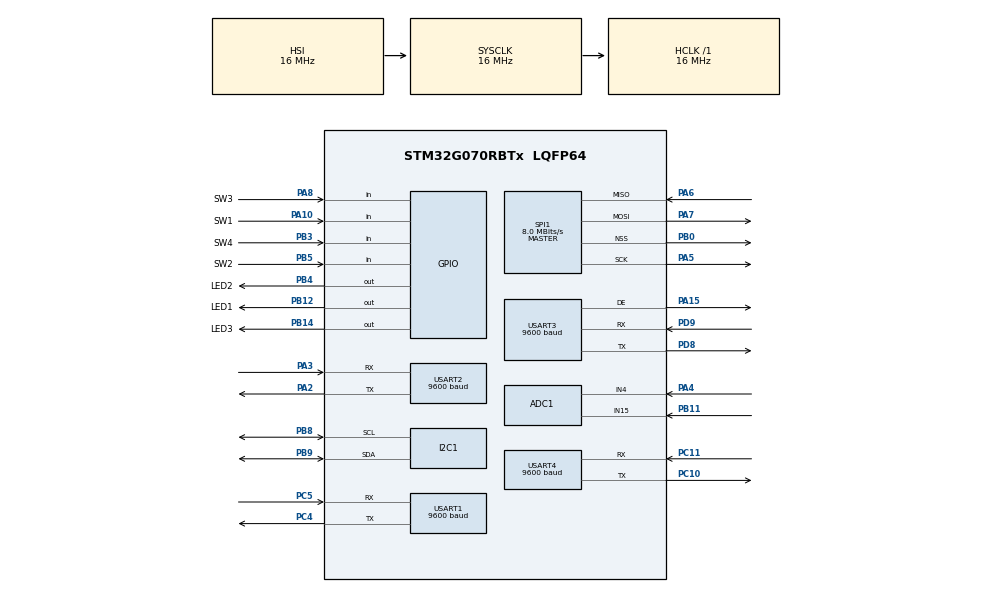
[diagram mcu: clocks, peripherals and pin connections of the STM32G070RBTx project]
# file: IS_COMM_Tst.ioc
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ADC1.DiscontinuousConvMode=ENABLE
ADC1.NbrOfConversion=1
ADC1.NbrOfConversionFlag=0
ADC1.SelectedChannel=ADC_CHANNEL_4|ADC_CHANNEL_15
ADC1.Sequencer=NOT_FULLY_CONFIGURABLE
ADC1.master=1
Mcu.Family=STM32G0
Mcu.Name=STM32G070RBTx
Mcu.Package=LQFP64
NVIC.USART1_IRQn=true\:0\:0\:false\:false\:true\:true\:true
NVIC.USART2_IRQn=true\:0\:0\:false\:false\:true\:true\:true
NVIC.USART3_4_IRQn=true\:0\:0\:false\:false\:true\:true\:true
PA10.GPIO_Label=SW1
PA10.Signal=GPIO_Input
PA15.Mode=Hardware Flow Control (RS485)
PA15.Signal=USART3_DE
PA2.Mode=Asynchronous
PA2.Signal=USART2_TX
PA3.Mode=Asynchronous
PA3.Signal=USART2_RX
PA4.Mode=IN4
PA4.Signal=ADC1_IN4
PA5.Mode=Full_Duplex_Master
PA5.Signal=SPI1_SCK
PA6.Mode=Full_Duplex_Master
PA6.Signal=SPI1_MISO
PA7.Mode=Full_Duplex_Master
PA7.Signal=SPI1_MOSI
PA8.GPIO_Label=SW3
PA8.Signal=GPIO_Input
PB0.Mode=NSS_Signal_Hard_Output
PB0.Signal=SPI1_NSS
PB11.Signal=SharedAnalog_PB11
PB12.GPIO_Label=LED1
PB12.Signal=GPIO_Output
PB14.GPIO_Label=LED3
PB14.Signal=GPIO_Output
PB3.GPIO_Label=SW4
PB3.Signal=GPIO_Input
PB4.GPIO_Label=LED2
PB4.Signal=GPIO_Output
PB5.GPIO_Label=SW2
PB5.Signal=GPIO_Input
PB8.Mode=I2C
PB8.Signal=I2C1_SCL
PB9.Mode=I2C
PB9.Signal=I2C1_SDA
PC10.Mode=Asynchronous
PC10.Signal=USART4_TX
PC11.Mode=Asynchronous
PC11.Signal=USART4_RX
PC4.Mode=Asynchronous
PC4.Signal=USART1_TX
PC5.Mode=Asynchronous
PC5.Signal=USART1_RX
PD8.Mode=Asynchronous
PD8.Signal=USART3_TX
PD9.Mode=Asynchronous
PD9.Signal=USART3_RX
ProjectManager.HeapSize=0x200
ProjectManager.StackSize=0x400
ProjectManager.TargetToolchain=EWARM V8.32
RCC.AHBFreq_Value=16000000
RCC.CortexFreq_Value=16000000
RCC.EXTERNAL_CLOCK_VALUE=48000
RCC.HCLKFreq_Value=16000000
RCC.HSE_VALUE=8000000
RCC.HSI_VALUE=16000000
RCC.LSE_VALUE=32768
RCC.SYSCLKFreq_VALUE=16000000
RCC.VCOOutputFreq_Value=128000000
SH.SharedAnalog_PB11.0=GPIO_Analog
SH.SharedAnalog_PB11.1=ADC1_IN15,IN15
SPI1.CalculateBaudRate=8.0 MBits/s
SPI1.DataSize=SPI_DATASIZE_8BIT
SPI1.Direction=SPI_DIRECTION_2LINES
SPI1.Mode=SPI_MODE_MASTER
SPI1.VirtualNSS=VM_NSSHARD
SPI1.VirtualType=VM_MASTER
USART1.BaudRate=9600
USART1.VirtualMode-Asynchronous=VM_ASYNC
USART2.BaudRate=9600
USART2.VirtualMode-Asynchronous=VM_ASYNC
USART3.BaudRate=9600
USART3.VirtualMode-Asynchronous=VM_ASYNC
USART3.VirtualMode-Hardware\ Flow\ Control\ (RS485)=VM_ASYNC
USART4.BaudRate=9600
USART4.VirtualMode-Asynchronous=VM_ASYNC
VP_SYS_VS_DBSignals.Mode=DisableDeadBatterySignals
board=custom

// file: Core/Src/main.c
/* USER CODE BEGIN Header */
/**
  ******************************************************************************
  * @file           : main.c
  * @brief          : Main program body
  ******************************************************************************
  * @attention
  *
  * <h2><center>&copy; Copyright (c) 2022 STMicroelectronics.
  * All rights reserved.</center></h2>
  *
  * This software component is licensed by ST under BSD 3-Clause license,
  * the "License"; You may not use this file except in compliance with the
  * License. You may obtain a copy of the License at:
  *                        opensource.org/licenses/BSD-3-Clause
  *
  ******************************************************************************
  */
/* USER CODE END Header */
#include "main.h"

/* USER CODE BEGIN Includes */
#include "stm32g0xx_ll_usart.h"
#include "gps.h"
#include "fiber_Interface.h"
#include "RS_485_Interface.h"
#include "fonts.h"
#include "ssd1306.h"
#include "ux_manager.h"
#include <string.h>
#include <stdio.h>

/* USER CODE END Includes */

ADC_HandleTypeDef hadc1;

I2C_HandleTypeDef hi2c1;

SPI_HandleTypeDef hspi1;

UART_HandleTypeDef huart1;
UART_HandleTypeDef huart2;
UART_HandleTypeDef huart3;
UART_HandleTypeDef huart4;

/* USER CODE BEGIN PV */
// scheduler stuff
extern uint8_t ten_mS_Flag;
extern uint8_t twentyfive_mS_Flag;
extern uint8_t hundred_mS_Flag;
extern uint8_t one_S_Flag;
uint8_t mS200 = true;

// Keyboard
#define NO_KEY_PRESSED 0x0F
uint8_t keyCode = NO_KEY_PRESSED;
uint8_t lastKeyCode = NO_KEY_PRESSED;
uint8_t keyCodeProcessed = false;

uint8_t probe_remote2 = false;

//GPS
uint8_t valid_GPS = false;

// Test Values
int8_t charCounter = 0;
extern DWfloat counter;
uint32_t xmitDelay = 200000;
uint8_t remoteCounter = 0;
uint8_t remoteMessage[10];
uint8_t seqLED = 0;
extern DWuint8_t buttons;

// Fiber Optic stuff
uint8_t fo_char2Send[1] = {0};
uint8_t fo_byteReceived = 0;

// RS-485 stuff
uint8_t rs485_char2Send[1] = {0};
uint8_t rs485_byteReceived = 0;

// Comm interface
extern uint8_t pcProcessPacket;
extern uint8_t fcProcessPacket;
extern uint8_t rs485ProcessPacket;

extern uint8_t sendFlag;
uint8_t message[10];
uint8_t msgLen;
// system variables
volatile uint16_t serialValue = 23;
volatile uint16_t fiberValue = 24;
volatile uint16_t rs485Value = 25;
volatile uint16_t targetRemote = 0;
volatile uint16_t ftargetRemote = 0;
volatile uint16_t receiveRemoteAddress = 0;

/* USER CODE END PV */

void SystemClock_Config(void);
static void MX_GPIO_Init(void);
static void MX_USART3_UART_Init(void);
static void MX_USART1_UART_Init(void);
static void MX_USART2_UART_Init(void);
static void MX_USART4_UART_Init(void);
static void MX_ADC1_Init(void);
static void MX_I2C1_Init(void);
static void MX_SPI1_Init(void);
/* USER CODE BEGIN PFP */

void ProcessKeyCode(uint8_t _keys);

/* USER CODE END PFP */

int main(void)
{

  /* MCU Configuration--------------------------------------------------------*/

  /* Reset of all peripherals, Initializes the Flash interface and the Systick. */
  HAL_Init();

  /* Configure the system clock */
  SystemClock_Config();

  /* Initialize all configured peripherals */
  MX_GPIO_Init();
  MX_USART3_UART_Init();
  MX_USART1_UART_Init();
  MX_USART2_UART_Init();
  MX_USART4_UART_Init();
  MX_ADC1_Init();
  MX_I2C1_Init();
  MX_SPI1_Init();
  /* USER CODE BEGIN 2 */
  LL_USART_EnableIT_RXNE_RXFNE(USART1);
  LL_USART_EnableIT_RXNE_RXFNE(USART2);
  LL_USART_EnableIT_RXNE_RXFNE(USART3);
  LL_USART_EnableIT_RXNE_RXFNE(USART4);

  SSD1306_Init();  // initialise

  SwitchScreens(SPLASH);

  HAL_Delay (3000);

  SwitchScreens(SHOW_COUNT_N_BUTTONS);

  rs485_char2Send[0] = charCounter + 0x40;
  fo_char2Send[0] = charCounter + 0x30;
  /* USER CODE END 2 */

  /* Infinite loop */
  /* USER CODE BEGIN WHILE */
  while (1)
  {
    //---------------------------------
    // 10mS Tasks
    if (ten_mS_Flag) {
      ten_mS_Flag = false;

    }  // end of 10mS Tasks
    //---------------------------------

    //---------------------------------
    // 25mS Tasks
    if (twentyfive_mS_Flag) {
      twentyfive_mS_Flag = false;

      keyCode = ( (HAL_GPIO_ReadPin(SW4) << 3) | (HAL_GPIO_ReadPin(SW3) << 2) | (HAL_GPIO_ReadPin(SW2) << 1) | (HAL_GPIO_ReadPin(SW1) << 0) );

      if (keyCode != NO_KEY_PRESSED) {
        if (lastKeyCode != NO_KEY_PRESSED) {
          if (keyCodeProcessed == false) {
            ProcessKeyCode(keyCode);
            keyCodeProcessed = true;
          }
        }
        else {
          lastKeyCode = keyCode;
        }
      }
      else {
        lastKeyCode = NO_KEY_PRESSED;
        keyCodeProcessed = false;
      }

      buttons.data = ( (HAL_GPIO_ReadPin(SW4) << 3) | (HAL_GPIO_ReadPin(SW3) << 2) | (HAL_GPIO_ReadPin(SW2) << 1) | (HAL_GPIO_ReadPin(SW1) << 0) );

    }  // end of 25mS Tasks
    //---------------------------------

    //---------------------------------
    // 100mS Tasks
    if (hundred_mS_Flag) {
      hundred_mS_Flag = false;

      if ((mS200 ^= true) == true)
        UpdateScreenValues();

    }  // end of 100mS Tasks
    //---------------------------------

    //---------------------------------
    // 1 Sec Tasks
    if (one_S_Flag) {
      one_S_Flag = false;

      if (valid_GPS == true) {
        HAL_GPIO_WritePin(LED1, LED_ON);
      } else {
        HAL_GPIO_WritePin(LED1, LED_OFF);
      }
      probe_remote2 = !probe_remote2;
      if (probe_remote2) {
        SendString(&rs485_outputBuffer,"$1o\n",sizeof("$1o\n"),StripZeros, NoAddCRLF);
      }
      else { // probe remote 1
        SendString(&rs485_outputBuffer,"$0r\n",sizeof("$0r\n"),StripZeros, NoAddCRLF);
      }

      // Test network and fiber optics
//      HAL_UART_Transmit(&huart3, rs485_char2Send, 1, 1000);   // remote bus  // #!
//      HAL_UART_Transmit(&huart4, fo_char2Send, 1, 1000);   // fiber optic
//
//      charCounter++;
//      rs485_char2Send[0] = charCounter + 0x40;  // #!
//      fo_char2Send[0] = charCounter + 0x30;
//      if (charCounter > 0x3A) {
//        charCounter = -1; // icremented to 0 before use
//        rs485_char2Send[0] = '\n';  // #!
//        fo_char2Send[0] = '\n';
//      }
//
//      counter.data += 0.12;
//      if (counter.data >= 123)
//        counter.data = 0;

//      sprintf((char *)remoteMessage, "$1d%d\n", remoteCounter);
//      HAL_UART_Transmit(&huart3, remoteMessage, 10, 1000);
//      remoteCounter++;

      // Test LEDs
//      switch (seqLED++) {
//      case 0:
//        HAL_GPIO_WritePin(LED1, LED_ON);
//        HAL_GPIO_WritePin(LED2, LED_OFF);
//        HAL_GPIO_WritePin(LED3, LED_OFF);
//        break;
//      case 1:
//        HAL_GPIO_WritePin(LED1, LED_OFF);
//        HAL_GPIO_WritePin(LED2, LED_ON);
//        HAL_GPIO_WritePin(LED3, LED_OFF);
//        break;
//      case 2:
//        HAL_GPIO_WritePin(LED1, LED_OFF);
//        HAL_GPIO_WritePin(LED2, LED_OFF);
//        HAL_GPIO_WritePin(LED3, LED_ON);
//
//        seqLED = 0;
//        break;
//      }

    } // end of 1Sec Tasks
    //---------------------------------

    //---------------------------------
    // Every time through the loop

    if (!IsBufferEmpty(&pc_inputBuffer))
      ProcessPcInputChar(&pc_inputBuffer);

    if (!IsBufferEmpty(&fc_inputBuffer))
      ProcessFcInputChar(&fc_inputBuffer);

    if (!IsBufferEmpty(&rs485_inputBuffer))
      ProcessRs485InputChar(&rs485_inputBuffer);

    if (!IsBufferEmpty(&gps_inputBuffer))
      ProcessGpsInputChar(&gps_inputBuffer);

    if (pcProcessPacket == true) {
      pcProcessPacket = false;

      ProcessPcPacket();
    }
    if (fcProcessPacket == true) {
      fcProcessPacket = false;

      ProcessFcPacket();
    }
    if (rs485ProcessPacket == true) {
      rs485ProcessPacket = false;
      ProcessRs485Packet();
    }
    if (gpsProcessPacket == true)
      ProcessGPS_Packet();

    // end Every time through the loop
    //---------------------------------

//    xmitDelay--;
//    if (xmitDelay == 0) {
//      xmitDelay = 200000;
//      char2Send[0] = charCounter++ + 0x40;
//      HAL_UART_Transmit(&huart3, char2Send, 1, 1000);   // remote bus
//      HAL_UART_Transmit(&huart4, char2Send, 1, 1000);   // fiber optic
//
//      if (charCounter > 0x3A) {
//        charCounter = 0;
//        char2Send[0] = '\n';
//        HAL_UART_Transmit(&huart3, char2Send, 1, 1000);
//        HAL_UART_Transmit(&huart4, char2Send, 1, 1000);
//      }
//
//      counter.data += 0.12;
//      if (counter.data >= 123)
//        counter.data = 0;
//
//      UpdateScreenValues();
//    }
//
//    if (!IsBufferEmpty(&gps_inputBuffer))
//      ProcessGpsInputChar(&gps_inputBuffer);

    /* USER CODE END WHILE */

  }
}

void SystemClock_Config(void)
{
  RCC_OscInitTypeDef RCC_OscInitStruct = {0};
  RCC_ClkInitTypeDef RCC_ClkInitStruct = {0};
  RCC_PeriphCLKInitTypeDef PeriphClkInit = {0};

  /** Configure the main internal regulator output voltage
  */
  HAL_PWREx_ControlVoltageScaling(PWR_REGULATOR_VOLTAGE_SCALE1);
  /** Initializes the RCC Oscillators according to the specified parameters
  * in the RCC_OscInitTypeDef structure.
  */
  RCC_OscInitStruct.OscillatorType = RCC_OSCILLATORTYPE_HSI;
  RCC_OscInitStruct.HSIState = RCC_HSI_ON;
  RCC_OscInitStruct.HSIDiv = RCC_HSI_DIV1;
  RCC_OscInitStruct.HSICalibrationValue = RCC_HSICALIBRATION_DEFAULT;
  RCC_OscInitStruct.PLL.PLLState = RCC_PLL_NONE;
  if (HAL_RCC_OscConfig(&RCC_OscInitStruct) != HAL_OK)
  {
    Error_Handler();
  }
  /** Initializes the CPU, AHB and APB buses clocks
  */
  RCC_ClkInitStruct.ClockType = RCC_CLOCKTYPE_HCLK|RCC_CLOCKTYPE_SYSCLK
                              |RCC_CLOCKTYPE_PCLK1;
  RCC_ClkInitStruct.SYSCLKSource = RCC_SYSCLKSOURCE_HSI;
  RCC_ClkInitStruct.AHBCLKDivider = RCC_SYSCLK_DIV1;
  RCC_ClkInitStruct.APB1CLKDivider = RCC_HCLK_DIV1;

  if (HAL_RCC_ClockConfig(&RCC_ClkInitStruct, FLASH_LATENCY_0) != HAL_OK)
  {
    Error_Handler();
  }
  /** Initializes the peripherals clocks
  */
  PeriphClkInit.PeriphClockSelection = RCC_PERIPHCLK_USART1|RCC_PERIPHCLK_USART2
                              |RCC_PERIPHCLK_I2C1|RCC_PERIPHCLK_ADC;
  PeriphClkInit.Usart1ClockSelection = RCC_USART1CLKSOURCE_PCLK1;
  PeriphClkInit.Usart2ClockSelection = RCC_USART2CLKSOURCE_PCLK1;
  PeriphClkInit.I2c1ClockSelection = RCC_I2C1CLKSOURCE_PCLK1;
  PeriphClkInit.AdcClockSelection = RCC_ADCCLKSOURCE_SYSCLK;
  if (HAL_RCCEx_PeriphCLKConfig(&PeriphClkInit) != HAL_OK)
  {
    Error_Handler();
  }
}

static void MX_ADC1_Init(void)
{

  ADC_ChannelConfTypeDef sConfig = {0};

  /** Configure the global features of the ADC (Clock, Resolution, Data Alignment and number of conversion)
  */
  hadc1.Instance = ADC1;
  hadc1.Init.ClockPrescaler = ADC_CLOCK_SYNC_PCLK_DIV2;
  hadc1.Init.Resolution = ADC_RESOLUTION_12B;
  hadc1.Init.DataAlign = ADC_DATAALIGN_RIGHT;
  hadc1.Init.ScanConvMode = ADC_SCAN_SEQ_FIXED;
  hadc1.Init.EOCSelection = ADC_EOC_SINGLE_CONV;
  hadc1.Init.LowPowerAutoWait = DISABLE;
  hadc1.Init.LowPowerAutoPowerOff = DISABLE;
  hadc1.Init.ContinuousConvMode = DISABLE;
  hadc1.Init.NbrOfConversion = 1;
  hadc1.Init.DiscontinuousConvMode = ENABLE;
  hadc1.Init.ExternalTrigConv = ADC_SOFTWARE_START;
  hadc1.Init.ExternalTrigConvEdge = ADC_EXTERNALTRIGCONVEDGE_NONE;
  hadc1.Init.DMAContinuousRequests = DISABLE;
  hadc1.Init.Overrun = ADC_OVR_DATA_PRESERVED;
  hadc1.Init.SamplingTimeCommon1 = ADC_SAMPLETIME_1CYCLE_5;
  hadc1.Init.OversamplingMode = DISABLE;
  hadc1.Init.TriggerFrequencyMode = ADC_TRIGGER_FREQ_HIGH;
  if (HAL_ADC_Init(&hadc1) != HAL_OK)
  {
    Error_Handler();
  }
  /** Configure Regular Channel
  */
  sConfig.Channel = ADC_CHANNEL_4;
  sConfig.Rank = ADC_RANK_CHANNEL_NUMBER;
  if (HAL_ADC_ConfigChannel(&hadc1, &sConfig) != HAL_OK)
  {
    Error_Handler();
  }
  /** Configure Regular Channel
  */
  sConfig.Channel = ADC_CHANNEL_15;
  if (HAL_ADC_ConfigChannel(&hadc1, &sConfig) != HAL_OK)
  {
    Error_Handler();
  }

}

static void MX_I2C1_Init(void)
{

  hi2c1.Instance = I2C1;
  hi2c1.Init.Timing = 0x00303D5B;
  hi2c1.Init.OwnAddress1 = 0;
  hi2c1.Init.AddressingMode = I2C_ADDRESSINGMODE_7BIT;
  hi2c1.Init.DualAddressMode = I2C_DUALADDRESS_DISABLE;
  hi2c1.Init.OwnAddress2 = 0;
  hi2c1.Init.OwnAddress2Masks = I2C_OA2_NOMASK;
  hi2c1.Init.GeneralCallMode = I2C_GENERALCALL_DISABLE;
  hi2c1.Init.NoStretchMode = I2C_NOSTRETCH_DISABLE;
  if (HAL_I2C_Init(&hi2c1) != HAL_OK)
  {
    Error_Handler();
  }
  /** Configure Analogue filter
  */
  if (HAL_I2CEx_ConfigAnalogFilter(&hi2c1, I2C_ANALOGFILTER_ENABLE) != HAL_OK)
  {
    Error_Handler();
  }
  /** Configure Digital filter
  */
  if (HAL_I2CEx_ConfigDigitalFilter(&hi2c1, 0) != HAL_OK)
  {
    Error_Handler();
  }

}

static void MX_SPI1_Init(void)
{

  /* SPI1 parameter configuration*/
  hspi1.Instance = SPI1;
  hspi1.Init.Mode = SPI_MODE_MASTER;
  hspi1.Init.Direction = SPI_DIRECTION_2LINES;
  hspi1.Init.DataSize = SPI_DATASIZE_8BIT;
  hspi1.Init.CLKPolarity = SPI_POLARITY_LOW;
  hspi1.Init.CLKPhase = SPI_PHASE_1EDGE;
  hspi1.Init.NSS = SPI_NSS_HARD_OUTPUT;
  hspi1.Init.BaudRatePrescaler = SPI_BAUDRATEPRESCALER_2;
  hspi1.Init.FirstBit = SPI_FIRSTBIT_MSB;
  hspi1.Init.TIMode = SPI_TIMODE_DISABLE;
  hspi1.Init.CRCCalculation = SPI_CRCCALCULATION_DISABLE;
  hspi1.Init.CRCPolynomial = 7;
  hspi1.Init.CRCLength = SPI_CRC_LENGTH_DATASIZE;
  hspi1.Init.NSSPMode = SPI_NSS_PULSE_ENABLE;
  if (HAL_SPI_Init(&hspi1) != HAL_OK)
  {
    Error_Handler();
  }

}

static void MX_USART1_UART_Init(void)
{

  huart1.Instance = USART1;
  huart1.Init.BaudRate = 9600;
  huart1.Init.WordLength = UART_WORDLENGTH_8B;
  huart1.Init.StopBits = UART_STOPBITS_1;
  huart1.Init.Parity = UART_PARITY_NONE;
  huart1.Init.Mode = UART_MODE_TX_RX;
  huart1.Init.HwFlowCtl = UART_HWCONTROL_NONE;
  huart1.Init.OverSampling = UART_OVERSAMPLING_16;
  huart1.Init.OneBitSampling = UART_ONE_BIT_SAMPLE_DISABLE;
  huart1.Init.ClockPrescaler = UART_PRESCALER_DIV1;
  huart1.AdvancedInit.AdvFeatureInit = UART_ADVFEATURE_NO_INIT;
  if (HAL_UART_Init(&huart1) != HAL_OK)
  {
    Error_Handler();
  }
  if (HAL_UARTEx_SetTxFifoThreshold(&huart1, UART_TXFIFO_THRESHOLD_1_8) != HAL_OK)
  {
    Error_Handler();
  }
  if (HAL_UARTEx_SetRxFifoThreshold(&huart1, UART_RXFIFO_THRESHOLD_1_8) != HAL_OK)
  {
    Error_Handler();
  }
  if (HAL_UARTEx_DisableFifoMode(&huart1) != HAL_OK)
  {
    Error_Handler();
  }

}

static void MX_USART2_UART_Init(void)
{

  huart2.Instance = USART2;
  huart2.Init.BaudRate = 9600;
  huart2.Init.WordLength = UART_WORDLENGTH_8B;
  huart2.Init.StopBits = UART_STOPBITS_1;
  huart2.Init.Parity = UART_PARITY_NONE;
  huart2.Init.Mode = UART_MODE_TX_RX;
  huart2.Init.HwFlowCtl = UART_HWCONTROL_NONE;
  huart2.Init.OverSampling = UART_OVERSAMPLING_16;
  huart2.Init.OneBitSampling = UART_ONE_BIT_SAMPLE_DISABLE;
  huart2.Init.ClockPrescaler = UART_PRESCALER_DIV1;
  huart2.AdvancedInit.AdvFeatureInit = UART_ADVFEATURE_NO_INIT;
  if (HAL_UART_Init(&huart2) != HAL_OK)
  {
    Error_Handler();
  }
  if (HAL_UARTEx_SetTxFifoThreshold(&huart2, UART_TXFIFO_THRESHOLD_1_8) != HAL_OK)
  {
    Error_Handler();
  }
  if (HAL_UARTEx_SetRxFifoThreshold(&huart2, UART_RXFIFO_THRESHOLD_1_8) != HAL_OK)
  {
    Error_Handler();
  }
  if (HAL_UARTEx_DisableFifoMode(&huart2) != HAL_OK)
  {
    Error_Handler();
  }

}

static void MX_USART3_UART_Init(void)
{

  huart3.Instance = USART3;
  huart3.Init.BaudRate = 9600;
  huart3.Init.WordLength = UART_WORDLENGTH_8B;
  huart3.Init.StopBits = UART_STOPBITS_1;
  huart3.Init.Parity = UART_PARITY_NONE;
  huart3.Init.Mode = UART_MODE_TX_RX;
  huart3.Init.HwFlowCtl = UART_HWCONTROL_NONE;
  huart3.Init.OverSampling = UART_OVERSAMPLING_16;
  huart3.Init.OneBitSampling = UART_ONE_BIT_SAMPLE_DISABLE;
  huart3.Init.ClockPrescaler = UART_PRESCALER_DIV1;
  huart3.AdvancedInit.AdvFeatureInit = UART_ADVFEATURE_NO_INIT;
  if (HAL_RS485Ex_Init(&huart3, UART_DE_POLARITY_HIGH, 0, 0) != HAL_OK)
  {
    Error_Handler();
  }

}

static void MX_USART4_UART_Init(void)
{

  huart4.Instance = USART4;
  huart4.Init.BaudRate = 9600;
  huart4.Init.WordLength = UART_WORDLENGTH_8B;
  huart4.Init.StopBits = UART_STOPBITS_1;
  huart4.Init.Parity = UART_PARITY_NONE;
  huart4.Init.Mode = UART_MODE_TX_RX;
  huart4.Init.HwFlowCtl = UART_HWCONTROL_NONE;
  huart4.Init.OverSampling = UART_OVERSAMPLING_16;
  huart4.Init.OneBitSampling = UART_ONE_BIT_SAMPLE_DISABLE;
  huart4.Init.ClockPrescaler = UART_PRESCALER_DIV1;
  huart4.AdvancedInit.AdvFeatureInit = UART_ADVFEATURE_NO_INIT;
  if (HAL_UART_Init(&huart4) != HAL_OK)
  {
    Error_Handler();
  }

}

static void MX_GPIO_Init(void)
{
  GPIO_InitTypeDef GPIO_InitStruct = {0};

  /* GPIO Ports Clock Enable */
  __HAL_RCC_GPIOC_CLK_ENABLE();
  __HAL_RCC_GPIOA_CLK_ENABLE();
  __HAL_RCC_GPIOB_CLK_ENABLE();
  __HAL_RCC_GPIOD_CLK_ENABLE();

  /*Configure GPIO pin Output Level */
  HAL_GPIO_WritePin(GPIOB, LED1_Pin|LED3_Pin|LED2_Pin, GPIO_PIN_RESET);

  /*Configure GPIO pins : LED1_Pin LED3_Pin LED2_Pin */
  GPIO_InitStruct.Pin = LED1_Pin|LED3_Pin|LED2_Pin;
  GPIO_InitStruct.Mode = GPIO_MODE_OUTPUT_PP;
  GPIO_InitStruct.Pull = GPIO_NOPULL;
  GPIO_InitStruct.Speed = GPIO_SPEED_FREQ_LOW;
  HAL_GPIO_Init(GPIOB, &GPIO_InitStruct);

  /*Configure GPIO pins : SW3_Pin SW1_Pin */
  GPIO_InitStruct.Pin = SW3_Pin|SW1_Pin;
  GPIO_InitStruct.Mode = GPIO_MODE_INPUT;
  GPIO_InitStruct.Pull = GPIO_NOPULL;
  HAL_GPIO_Init(GPIOA, &GPIO_InitStruct);

  /*Configure GPIO pins : SW4_Pin SW2_Pin */
  GPIO_InitStruct.Pin = SW4_Pin|SW2_Pin;
  GPIO_InitStruct.Mode = GPIO_MODE_INPUT;
  GPIO_InitStruct.Pull = GPIO_NOPULL;
  HAL_GPIO_Init(GPIOB, &GPIO_InitStruct);

}

/* USER CODE BEGIN 4 */

void ProcessKeyCode(uint8_t _keys)
{
  switch (_keys) {
  case 0x07: // sw1
    SendString(&rs485_outputBuffer,"$1o\n",sizeof("$1o\n"),StripZeros, NoAddCRLF);
    break;
  case 0x0b: // sw2
    SwitchScreens(SHOW_COUNT_N_BUTTONS);
    break;
  case 0x0d: // sw3
    break;
  case 0x0e: // sw4
    break;
  }
}

/* USER CODE END 4 */

void Error_Handler(void)
{
  __disable_irq();
  while (1)
  {
  }
}

/************************ (C) COPYRIGHT STMicroelectronics *****END OF FILE****/
